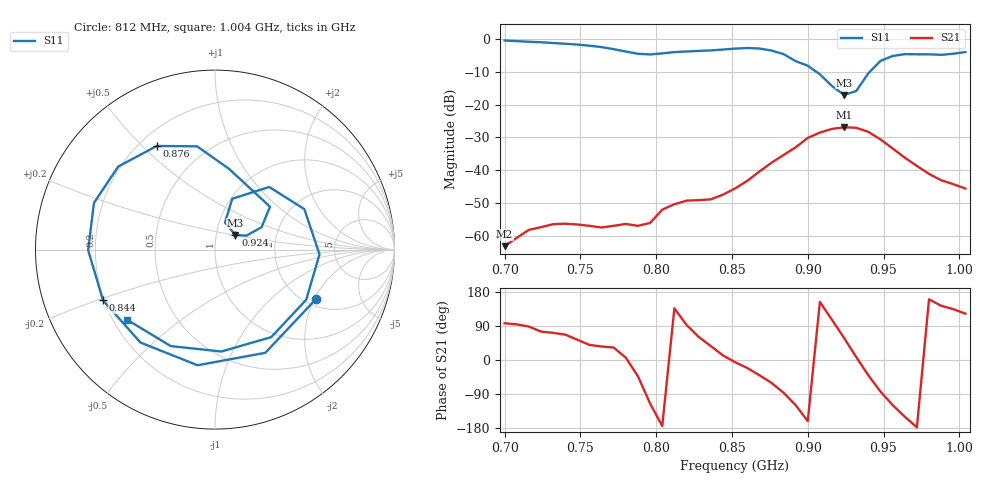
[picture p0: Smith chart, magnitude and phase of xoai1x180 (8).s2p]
# Hz S RI R 50
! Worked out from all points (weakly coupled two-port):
!   39 points, 700 MHz to 1.004 GHz, reference 50 ohm
!   highest |S21| = -26.91 dB at 924 MHz (marker M1); lowest = -63.1 dB at 700 MHz (marker M2)
!   lowest |S11| = -17.1 dB at 924 MHz (marker M3), VSWR 1.33, Z = 61.9 + j10.3 ohm
!   |S11| at or under -10 dB: 905.5 MHz to 941 MHz (35.52 MHz wide, 3.85 % of centre)
!   S12 and S22 are empty: the file has one direction only
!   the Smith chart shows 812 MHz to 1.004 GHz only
!   S11 on the Smith chart (normalised r, x): 812 MHz: 2.27, -2.06; 844 MHz: 0.20, -0.21; 876 MHz: 0.27, +0.55; 924 MHz: 1.24, +0.21; 1.004 GHz: 0.26, -0.33
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7e8  0.7585 0.5571  -8.48e-05 0.000698  0 0  0 0
7.24e8  0.849 -0.2456  0.000355 0.00132  0 0  0 0
7.4e8  0.4585 -0.7027  0.000605 0.00142  0 0  0 0
7.56e8  -0.1893 -0.7594  0.0011 0.000915  0 0  0 0
7.72e8  -0.6629 -0.2029  0.00121 0.000777  0 0  0 0
7.8e8  -0.598 0.2232  0.00152 0.000157  0 0  0 0
7.88e8  -0.2523 0.5336  0.00105 -0.000982  0 0  0 0
7.96e8  0.2336 0.5277  -0.000669 -0.00144  0 0  0 0
8.04e8  0.5707 0.1815  -0.00251 -0.000251  0 0  0 0
8.12e8  0.5624 -0.2759  -0.0022 0.00211  0 0  0 0
8.28e8  -0.097 -0.6444  0.00171 0.00308  0 0  0 0
8.44e8  -0.6241 -0.2817  0.00416 0.000902  0 0  0 0
8.52e8  -0.7069 -0.00291  0.00527 -0.000529  0 0  0 0
8.76e8  -0.324 0.5774  0.00646 -0.0113  0 0  0 0
9e8  0.3064 0.2391  -0.0294 -0.00995  0 0  0 0
9.08e8  0.2595 0.1247  -0.0334 0.0169  0 0  0 0
9.24e8  0.1137 0.0816  0.024 0.0382  0 0  0 0
9.4e8  0.0964 0.2833  0.0292 -0.025  0 0  0 0
9.56e8  0.4981 0.2252  -0.0104 -0.0188  0 0  0 0
9.64e8  0.5822 -0.0264  -0.0134 -0.00785  0 0  0 0
9.8e8  0.3133 -0.4878  -0.00829 0.00299  0 0  0 0
1.004e9  -0.4912 -0.3899  -0.00282 0.00446  0 0  0 0
